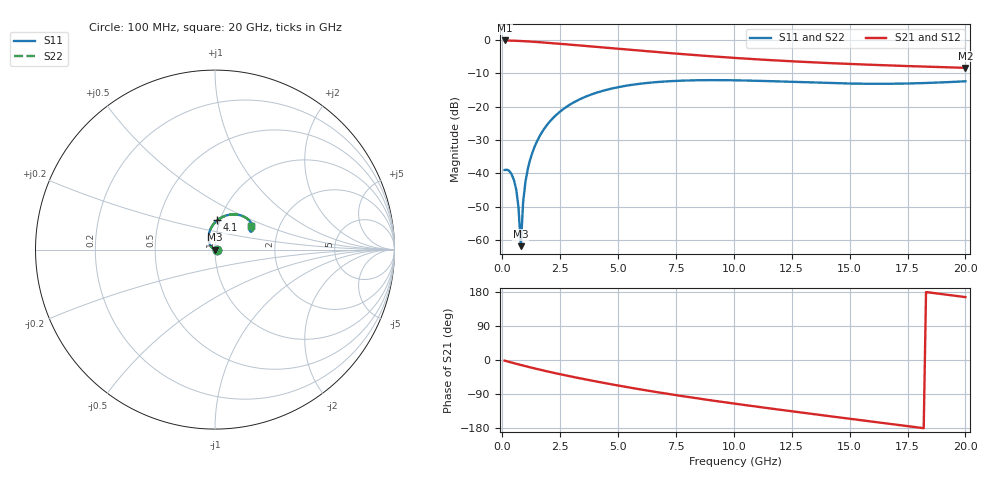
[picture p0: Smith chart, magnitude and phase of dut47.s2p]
! Touchstone file exported from HFSS 2024.1.0
!  File:  C:/UserFiles/LocalFiles/RDL_TSV_Batchsim/temp_RDL_TSV_47_1779406031.aedt
!  Generated:  07:39:11 AM May 22, 2026
!  Design:  RDL_TSV
!  Project:  temp_RDL_TSV_47_1779406031
!  Setup:  Setup1
!  Solution:  Sweep
! Variables:
!  dtsv = 11.47um
!  hbump = 3um
!  htsv = 52.28um
!  ldown = 691.06um
!  lrdl = 252.74um
!  p = 40
!  p1 = 49um
!  rhole = 10um
!  subl = 3084.14um
!  t = 450um
!  tdown = 4.09um
!  trdl = 3.74um
!  viad = 10um
!  wdown = 26.37um
!  wrdl = 26.59um
!  xbump = 18um
# GHz S MA R 50.000000
! Terminal data exported
! Port[1] = TM1_1_T1
! Port[2] = TM1_4_T1
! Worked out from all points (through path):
!   200 points, 100 MHz to 20 GHz, reference 50 ohm
!   highest |S21| = -0.10 dB at 100 MHz (marker M1); lowest = -8.3 dB at 20 GHz (marker M2)
!   group delay of S21, straight-line fit = 25.5 ps
!   lowest |S11| = -61.8 dB at 800 MHz (marker M3), VSWR 1.00, Z = 50 - j0.0713 ohm
!   |S11| at or under -10 dB: start of sweep to end of sweep
!   |S22| runs from -61.8 to -12.0 dB; largest |S21 - S12| = 1.5e-14
!   S11 on the Smith chart (normalised r, x): 100 MHz: 1.02, +0.00; 4.1 GHz: 0.97, +0.33; 20 GHz: 1.44, +0.41
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0.1  0.01125 1.3  0.9882 -1.7  0.9882 -1.7  0.01125 1.3
! Gamma 0 0 0 0
! Port Impedance 50 0 50 0
0.3  0.0109 -4.1  0.9844 -5.1  0.9844 -5.1  0.0109 -4.1
0.4  0.009752 -8.6  0.9821 -6.7  0.9821 -6.7  0.009753 -8.6
0.5  0.008016 -13.7  0.9794 -8.3  0.9794 -8.3  0.008017 -13.7
0.6  0.005771 -19.8  0.9764 -10.0  0.9764 -10.0  0.005772 -19.8
0.7  0.003103 -30.5  0.9731 -11.6  0.9731 -11.6  0.003105 -30.6
0.8  0.0008093 -118.2  0.9694 -13.1  0.9694 -13.1  0.000815 -118.1
0.9  0.003706 169.8  0.9654 -14.7  0.9654 -14.7  0.003707 169.9
1  0.007484 160.2  0.9611 -16.3  0.9611 -16.3  0.007485 160.2
1.2  0.01596 150.5  0.9518 -19.3  0.9518 -19.3  0.01597 150.6
1.4  0.0254 143.5  0.9416 -22.3  0.9416 -22.3  0.0254 143.5
1.8  0.04617 131.7  0.9198 -28.1  0.9198 -28.1  0.04617 131.7
2.2  0.06822 121.5  0.897 -33.6  0.897 -33.6  0.06823 121.5
2.8  0.1012 108.3  0.8625 -41.4  0.8625 -41.4  0.1013 108.3
3.5  0.137 95.2  0.823 -50.1  0.823 -50.1  0.137 95.2
4.1  0.1638 85.5  0.7901 -57.2  0.7901 -57.2  0.1638 85.5
5.3  0.2055 69.5  0.7275 -70.6  0.7275 -70.6  0.2055 69.5
6.8  0.2365 54.2  0.657 -86.0  0.657 -86.0  0.2365 54.3
10.1  0.2492 33.6  0.5387 -115.7  0.5387 -115.7  0.2493 33.7
13.4  0.2308 26.3  0.4643 -142.5  0.4643 -142.5  0.231 26.5
16.7  0.2213 28.9  0.417 -168.3  0.417 -168.3  0.2218 29.1
20  0.2411 33.5  0.3836 166.0  0.3836 166.0  0.2419 33.7
